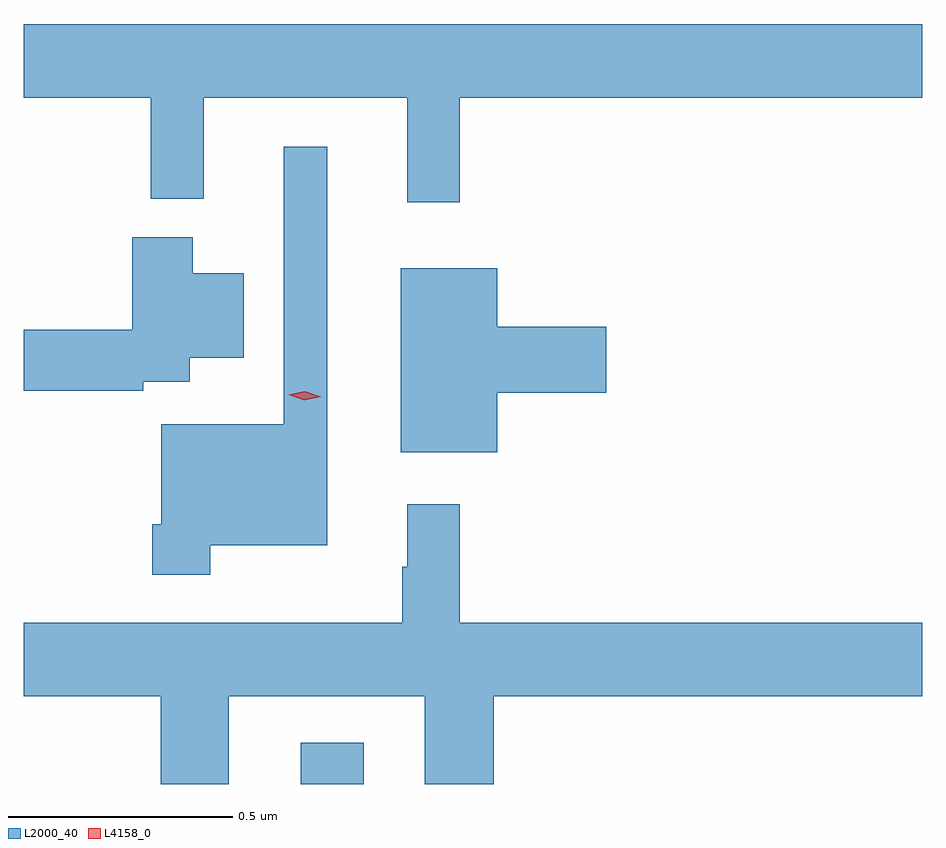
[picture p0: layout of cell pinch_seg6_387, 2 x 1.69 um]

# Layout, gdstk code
import gdstk
lib = gdstk.Library(unit=1e-6, precision=1e-09)
def R(c, l, rs):  # rectangles x0, y0, x1, y1
    for r in rs: c.add(gdstk.rectangle(r[:2], r[2:], *l))
def P(c, l, *ps):  # polygons
    for p in ps: c.add(gdstk.Polygon(p, *l))
L2000_40 = (2000, 40)
L4158_0 = (4158, 0)

pinch_seg6_387 = lib.new_cell('pinch_seg6_387')
R(pinch_seg6_387, L2000_40, [(670.325,951.137,670.465,951.229)])
P(pinch_seg6_387, L2000_40, [(670.679,952.664),(671.708,952.664),(671.708,952.828),(669.708,952.828),(669.708,952.664),(669.991,952.664),(669.991,952.439),(670.109,952.439),(670.109,952.664),(670.562,952.664),(670.562,952.431),(670.679,952.431)],
  [(670.123,951.668),(670.384,951.668),(670.384,952.555),(670.287,952.555),(670.287,951.937),(670.014,951.937),(670.014,951.715),(669.994,951.715),(669.994,951.603),(670.123,951.603)],
  [(669.974,952.032),(670.078,952.032),(670.078,952.085),(670.198,952.085),(670.198,952.273),(670.084,952.273),(670.084,952.354),(669.95,952.354),(669.95,952.148),(669.708,952.148),(669.708,952.012),(669.974,952.012)],
  [(670.762,952.007),(671.005,952.007),(671.005,952.154),(670.762,952.154),(670.762,952.285),(670.547,952.285),(670.547,951.875),(670.762,951.875)],
  [(670.679,951.76),(670.562,951.76),(670.562,951.62),(670.551,951.62),(670.551,951.496),(669.708,951.496),(669.708,951.332),(670.013,951.332),(670.013,951.137),(670.165,951.137),(670.165,951.332),(670.601,951.332),(670.601,951.137),(670.754,951.137),(670.754,951.332),(671.708,951.332),(671.708,951.496),(670.679,951.496)])
P(pinch_seg6_387, L4158_0, [(670.333,951.991),(670.298,952.003),(670.297,952.003),(670.298,952.003),(670.334,952.011),(670.369,951.999),(670.369,951.999),(670.369,951.999)])

lib.write_gds('pinch_seg6_387.gds')
